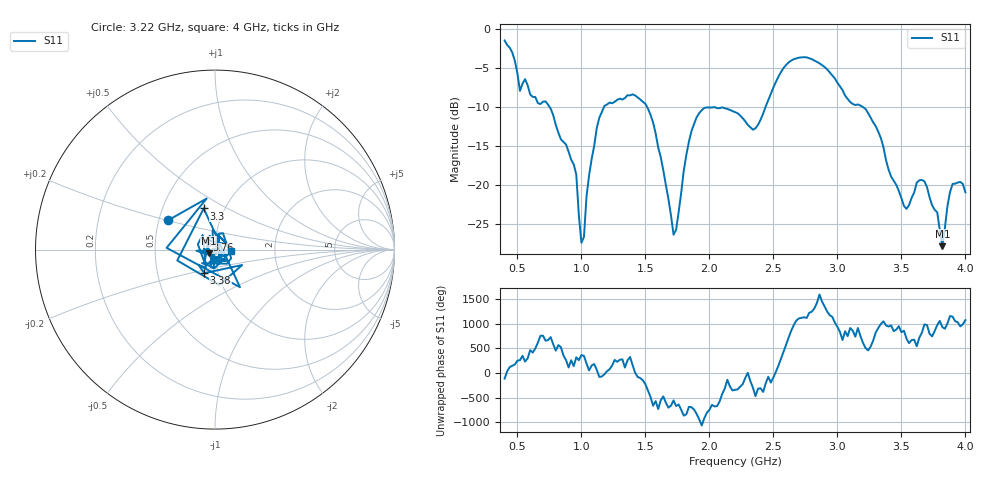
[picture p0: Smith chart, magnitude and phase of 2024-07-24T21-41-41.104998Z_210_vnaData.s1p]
!Created with skrf (http://scikit-rf.org).
# Hz S RI R 50.0
!freq ReS11 ImS11
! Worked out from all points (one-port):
!   181 points, 400 MHz to 4 GHz, reference 50 ohm
!   lowest |S11| = -27.8 dB at 3.82 GHz (marker M1), VSWR 1.08, Z = 46.6 - j2.01 ohm
!   |S11| at or under -10 dB: 751.1 MHz to 1.177 GHz (425.5 MHz wide, 44.1 % of centre); 1.513 GHz to 2.439 GHz (925.8 MHz wide, 46.9 % of centre); 3.197 GHz to end of sweep
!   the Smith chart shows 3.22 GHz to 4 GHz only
!   S11 on the Smith chart (normalised r, x): 3.22 GHz: 0.56, +0.20; 3.3 GHz: 0.80, +0.39; 3.38 GHz: 0.86, -0.23; 3.76 GHz: 0.91, +0.09; 4 GHz: 1.20, -0.02
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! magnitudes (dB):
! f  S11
! 400 MHz  -1.5
! 520 MHz  -7.9
! 720 MHz  -9.3
! 860 MHz  -14.5
! 960 MHz  -18.7
! 1 GHz  -27.4
! 1.14 GHz  -11.4
! 1.3 GHz  -8.9
! 1.52 GHz  -10.2
! 1.62 GHz  -16.4
! 1.72 GHz  -26.4
! 1.76 GHz  -23.4
! 1.82 GHz  -16.1
! 1.9 GHz  -11.3
! 2.2 GHz  -10.7
! 2.36 GHz  -12.7
! 2.66 GHz  -3.9
! 2.9 GHz  -4.9
! 3.1 GHz  -9.4
! 3.22 GHz  -10.3
! 3.3 GHz  -12.5
! 3.38 GHz  -16.8
! 3.56 GHz  -22.6
! 3.66 GHz  -19.3
! 3.76 GHz  -23.2
! 3.82 GHz  -27.8
! 3.9 GHz  -19.9
! 4 GHz  -20.9
